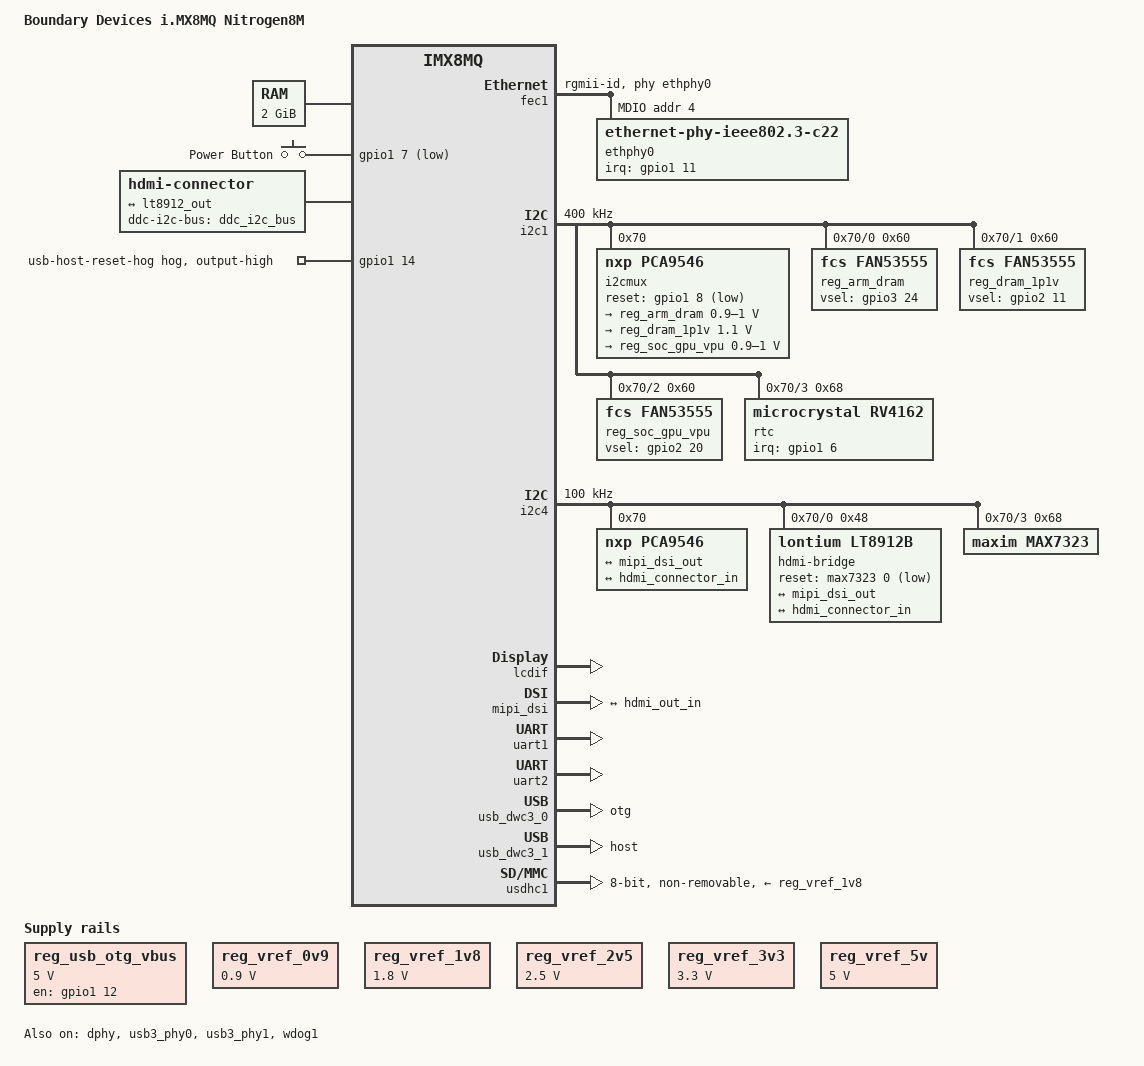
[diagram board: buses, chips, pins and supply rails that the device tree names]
// SPDX-License-Identifier: (GPL-2.0+ OR MIT)
/*
 * Copyright 2018 Boundary Devices
 */

/dts-v1/;

#include <dt-bindings/input/input.h>
#include "imx8mq.dtsi"

/ {
	model = "Boundary Devices i.MX8MQ Nitrogen8M";
	compatible = "boundary,imx8mq-nitrogen8m", "fsl,imx8mq";

	chosen {
		stdout-path = "serial0:115200n8";
	};

	memory@40000000 {
		device_type = "memory";
		reg = <0x00000000 0x40000000 0 0x80000000>;
	};

	gpio-keys {
		compatible = "gpio-keys";
		pinctrl-names = "default";
		pinctrl-0 = <&pinctrl_gpio_keys>;

		button-power {
			label = "Power Button";
			gpios = <&gpio1 7 GPIO_ACTIVE_LOW>;
			linux,code = <KEY_POWER>;
			wakeup-source;
		};
	};

	hdmi-connector {
		compatible = "hdmi-connector";
		ddc-i2c-bus = <&ddc_i2c_bus>;
		label = "hdmi";
		type = "a";

		port {
			hdmi_connector_in: endpoint {
				remote-endpoint = <&lt8912_out>;
			};
		};
	};

	reg_usb_otg_vbus: regulator-usb-otg-vbus {
		compatible = "regulator-fixed";
		pinctrl-names = "default";
		pinctrl-0 = <&pinctrl_reg_usbotg_vbus>;
		regulator-name = "usb_otg_vbus";
		regulator-min-microvolt = <5000000>;
		regulator-max-microvolt = <5000000>;
		gpio = <&gpio1 12 GPIO_ACTIVE_HIGH>;
		enable-active-high;
	};

	reg_vref_0v9: regulator-vref-0v9 {
		compatible = "regulator-fixed";
		regulator-name = "vref-0v9";
		regulator-min-microvolt = <900000>;
		regulator-max-microvolt = <900000>;
	};

	reg_vref_1v8: regulator-vref-1v8 {
		compatible = "regulator-fixed";
		regulator-name = "vref-1v8";
		regulator-min-microvolt = <1800000>;
		regulator-max-microvolt = <1800000>;
	};

	reg_vref_2v5: regulator-vref-2v5 {
		compatible = "regulator-fixed";
		regulator-name = "vref-2v5";
		regulator-min-microvolt = <2500000>;
		regulator-max-microvolt = <2500000>;
	};

	reg_vref_3v3: regulator-vref-3v3 {
		compatible = "regulator-fixed";
		regulator-name = "vref-3v3";
		regulator-min-microvolt = <3300000>;
		regulator-max-microvolt = <3300000>;
	};

	reg_vref_5v: regulator-vref-5v {
		compatible = "regulator-fixed";
		regulator-name = "vref-5v";
		regulator-min-microvolt = <5000000>;
		regulator-max-microvolt = <5000000>;
	};
};

&dphy {
	status = "okay";
};

&fec1 {
	pinctrl-names = "default";
	pinctrl-0 = <&pinctrl_fec1>;
	phy-mode = "rgmii-id";
	phy-handle = <&ethphy0>;
	fsl,magic-packet;
	status = "okay";

	mdio {
		#address-cells = <1>;
		#size-cells = <0>;

		ethphy0: ethernet-phy@4 {
			compatible = "ethernet-phy-ieee802.3-c22";
			reg = <4>;
			interrupts-extended = <&gpio1 11 IRQ_TYPE_LEVEL_LOW>;
		};
	};
};

/* Release reset of the USB Host HUB */
&gpio1 {
	usb-host-reset-hog {
		gpio-hog;
		gpios = <14 GPIO_ACTIVE_HIGH>;
		output-high;
	};
};

&i2c1 {
	clock-frequency = <400000>;
	pinctrl-names = "default";
	pinctrl-0 = <&pinctrl_i2c1>;
	status = "okay";

	i2cmux@70 {
		compatible = "nxp,pca9546";
		pinctrl-names = "default";
		pinctrl-0 = <&pinctrl_i2c1_pca9546>;
		reg = <0x70>;
		reset-gpios = <&gpio1 8 GPIO_ACTIVE_LOW>;
		#address-cells = <1>;
		#size-cells = <0>;

		i2c1a: i2c1@0 {
			reg = <0>;
			#address-cells = <1>;
			#size-cells = <0>;

			reg_arm_dram: regulator@60 {
				compatible = "fcs,fan53555";
				pinctrl-names = "default";
				pinctrl-0 = <&pinctrl_reg_arm_dram>;
				reg = <0x60>;
				regulator-min-microvolt = <900000>;
				regulator-max-microvolt = <1000000>;
				regulator-always-on;
				vsel-gpios = <&gpio3 24 GPIO_ACTIVE_HIGH>;
			};
		};

		i2c1b: i2c1@1 {
			reg = <1>;
			#address-cells = <1>;
			#size-cells = <0>;

			reg_dram_1p1v: regulator@60 {
				compatible = "fcs,fan53555";
				pinctrl-names = "default";
				pinctrl-0 = <&pinctrl_reg_dram_1p1v>;
				reg = <0x60>;
				regulator-min-microvolt = <1100000>;
				regulator-max-microvolt = <1100000>;
				regulator-always-on;
				vsel-gpios = <&gpio2 11 GPIO_ACTIVE_HIGH>;
			};
		};

		i2c1c: i2c1@2 {
			reg = <2>;
			#address-cells = <1>;
			#size-cells = <0>;

			reg_soc_gpu_vpu: regulator@60 {
				compatible = "fcs,fan53555";
				pinctrl-names = "default";
				pinctrl-0 = <&pinctrl_reg_soc_gpu_vpu>;
				reg = <0x60>;
				regulator-min-microvolt = <900000>;
				regulator-max-microvolt = <1000000>;
				regulator-always-on;
				vsel-gpios = <&gpio2 20 GPIO_ACTIVE_HIGH>;
			};
		};

		i2c1d: i2c1@3 {
			reg = <3>;
			#address-cells = <1>;
			#size-cells = <0>;

			rtc@68 {
				compatible = "microcrystal,rv4162";
				pinctrl-names = "default";
				pinctrl-0 = <&pinctrl_i2c1d_rv4162>;
				reg = <0x68>;
				interrupts-extended = <&gpio1 6 IRQ_TYPE_LEVEL_LOW>;
				wakeup-source;
			};
		};
	};
};

&i2c4 {
	clock-frequency = <100000>;
	pinctrl-names = "default";
	pinctrl-0 = <&pinctrl_i2c4>;
	status = "okay";

	pca9546: i2cmux@70 {
		compatible = "nxp,pca9546";
		reg = <0x70>;
		#address-cells = <1>;
		#size-cells = <0>;

		i2c4@0 {
			reg = <0>;
			#address-cells = <1>;
			#size-cells = <0>;
			clock-frequency = <100000>;

			hdmi-bridge@48 {
				compatible = "lontium,lt8912b";
				reg = <0x48> ;
				reset-gpios = <&max7323 0 GPIO_ACTIVE_LOW>;

				ports {
					#address-cells = <1>;
					#size-cells = <0>;

					port@0 {
						reg = <0>;

						hdmi_out_in: endpoint {
							data-lanes = <1 2 3 4>;
							remote-endpoint = <&mipi_dsi_out>;
						};
					};

					port@1 {
						reg = <1>;

						lt8912_out: endpoint {
							remote-endpoint = <&hdmi_connector_in>;
						};
					};
				};
			};
		};

		ddc_i2c_bus: i2c4@1 {
			reg = <1>;
			#address-cells = <1>;
			#size-cells = <0>;
			clock-frequency = <100000>;
		};

		i2c4@3 {
			reg = <3>;
			#address-cells = <1>;
			#size-cells = <0>;
			clock-frequency = <100000>;

			max7323: gpio-expander@68 {
				compatible = "maxim,max7323";
				pinctrl-names = "default";
				pinctrl-0 = <&pinctrl_max7323>;
				gpio-controller;
				reg = <0x68>;
				#gpio-cells = <2>;
			};
		};
	};
};

&lcdif {
	status = "okay";
};

&mipi_dsi {
	#address-cells = <1>;
	#size-cells = <0>;
	status = "okay";

	ports {
		port@1 {
			reg = <1>;

			mipi_dsi_out: endpoint {
				remote-endpoint = <&hdmi_out_in>;
			};
		};
	};
};

&uart1 { /* console */
	pinctrl-names = "default";
	pinctrl-0 = <&pinctrl_uart1>;
	assigned-clocks = <&clk IMX8MQ_CLK_UART1>;
	assigned-clock-parents = <&clk IMX8MQ_CLK_25M>;
	status = "okay";
};

&uart2 {
	pinctrl-names = "default";
	pinctrl-0 = <&pinctrl_uart2>;
	assigned-clocks = <&clk IMX8MQ_CLK_UART2>;
	assigned-clock-parents = <&clk IMX8MQ_CLK_25M>;
	status = "okay";
};

&usb_dwc3_0 {
	dr_mode = "otg";
	pinctrl-names = "default";
	pinctrl-0 = <&pinctrl_usb3_0>;
	status = "okay";
};

&usb3_phy0 {
	vbus-supply = <&reg_usb_otg_vbus>;
	status = "okay";
};

&usb_dwc3_1 {
	dr_mode = "host";
	status = "okay";
};

&usb3_phy1 {
	pinctrl-names = "default";
	pinctrl-0 = <&pinctrl_usb3_1>;
	status = "okay";
};

&usdhc1 {
	assigned-clocks = <&clk IMX8MQ_CLK_USDHC1>;
	assigned-clock-rates = <400000000>;
	bus-width = <8>;
	pinctrl-names = "default";
	pinctrl-0 = <&pinctrl_usdhc1>;
	non-removable;
	vmmc-supply = <&reg_vref_1v8>;
	status = "okay";
};

&wdog1 {
	pinctrl-names = "default";
	pinctrl-0 = <&pinctrl_wdog>;
	fsl,ext-reset-output;
	status = "okay";
};

&iomuxc {
	pinctrl-names = "default";
	pinctrl-0 = <&pinctrl_hog>;

	pinctrl_hog: hoggrp {
		fsl,pins = <
			/* J17 connector, odd */
			MX8MQ_IOMUXC_SAI1_RXFS_GPIO4_IO0		0x19	/* Pin 19 */
			MX8MQ_IOMUXC_SAI1_RXC_GPIO4_IO1			0x19	/* Pin 21 */
			MX8MQ_IOMUXC_SAI1_RXD1_GPIO4_IO3		0x19	/* Pin 23 */
			MX8MQ_IOMUXC_SAI1_RXD2_GPIO4_IO4		0x19	/* Pin 25 */
			MX8MQ_IOMUXC_SAI1_RXD3_GPIO4_IO5		0x19	/* Pin 27 */
			MX8MQ_IOMUXC_SAI1_RXD4_GPIO4_IO6		0x19	/* Pin 29 */
			MX8MQ_IOMUXC_SAI1_RXD5_GPIO4_IO7		0x19	/* Pin 31 */
			MX8MQ_IOMUXC_SAI1_RXD6_GPIO4_IO8		0x19	/* Pin 33 */
			MX8MQ_IOMUXC_SAI1_RXD7_GPIO4_IO9		0x19	/* Pin 35 */
			MX8MQ_IOMUXC_SAI1_TXD1_GPIO4_IO13		0x19	/* Pin 39 */
			MX8MQ_IOMUXC_SAI1_TXD2_GPIO4_IO14		0x19	/* Pin 41 */
			MX8MQ_IOMUXC_SAI1_TXD3_GPIO4_IO15		0x19	/* Pin 43 */
			MX8MQ_IOMUXC_SAI1_TXD4_GPIO4_IO16		0x19	/* Pin 45 */
			MX8MQ_IOMUXC_SAI1_TXD5_GPIO4_IO17		0x19	/* Pin 47 */
			MX8MQ_IOMUXC_SAI1_TXD6_GPIO4_IO18		0x19	/* Pin 49 */
			MX8MQ_IOMUXC_SAI1_TXD7_GPIO4_IO19		0x19	/* Pin 51 */

			/* J17 connector, even */
			MX8MQ_IOMUXC_SAI3_RXFS_GPIO4_IO28		0x19	/* Pin 44 */
			MX8MQ_IOMUXC_SAI3_RXC_GPIO4_IO29		0x19	/* Pin 48 */
			MX8MQ_IOMUXC_GPIO1_IO10_GPIO1_IO10		0x19	/* Pin 50 */
			MX8MQ_IOMUXC_GPIO1_IO03_GPIO1_IO3		0x19	/* Pin 54 */
			MX8MQ_IOMUXC_GPIO1_IO05_GPIO1_IO5		0x19	/* Pin 56 */

			/* J18 connector, odd */
			MX8MQ_IOMUXC_NAND_CE3_B_GPIO3_IO4		0x19	/* Pin 41 */
			MX8MQ_IOMUXC_NAND_CLE_GPIO3_IO5			0x19	/* Pin 43 */
			MX8MQ_IOMUXC_NAND_READY_B_GPIO3_IO16		0x19	/* Pin 45 */
			MX8MQ_IOMUXC_NAND_DATA05_GPIO3_IO11		0x19	/* Pin 47 */
			MX8MQ_IOMUXC_NAND_WP_B_GPIO3_IO18		0x19	/* Pin 49 */
			MX8MQ_IOMUXC_NAND_DQS_GPIO3_IO14		0x19	/* Pin 53 */

			/* J18 connector, even */
			MX8MQ_IOMUXC_NAND_ALE_GPIO3_IO0			0x19	/* Pin 32 */
			MX8MQ_IOMUXC_NAND_CE0_B_GPIO3_IO1		0x19	/* Pin 36 */
			MX8MQ_IOMUXC_NAND_DATA00_GPIO3_IO6		0x19	/* Pin 38 */
			MX8MQ_IOMUXC_NAND_DATA01_GPIO3_IO7		0x19	/* Pin 40 */
			MX8MQ_IOMUXC_NAND_DATA02_GPIO3_IO8		0x19	/* Pin 42 */
			MX8MQ_IOMUXC_NAND_DATA03_GPIO3_IO9		0x19	/* Pin 44 */
			MX8MQ_IOMUXC_NAND_DATA04_GPIO3_IO10		0x19	/* Pin 46 */

			/* J13 Pin 2, WL_WAKE */
			MX8MQ_IOMUXC_SAI5_RXD2_GPIO3_IO23		0xd6
			/* J13 Pin 4, WL_IRQ, not needed for Silex */
			MX8MQ_IOMUXC_SAI5_RXD0_GPIO3_IO21		0xd6
			/* J13 pin 9, unused */
			MX8MQ_IOMUXC_SD2_CD_B_GPIO2_IO12		0x19
			/* J13 Pin 41, BT_CLK_REQ */
			MX8MQ_IOMUXC_SAI5_RXD1_GPIO3_IO22		0xd6
			/* J13 Pin 42, BT_HOST_WAKE */
			MX8MQ_IOMUXC_SAI5_MCLK_GPIO3_IO25		0xd6

			/* Clock for both CSI1 and CSI2 */
			MX8MQ_IOMUXC_GPIO1_IO15_CCMSRCGPCMIX_CLKO2	0x07
			/* test points */
			MX8MQ_IOMUXC_GPIO1_IO04_GPIO1_IO4		0xc1	/* TP87 */
		>;
	};

	pinctrl_fec1: fec1grp {
		fsl,pins = <
			MX8MQ_IOMUXC_ENET_MDC_ENET1_MDC			0x3
			MX8MQ_IOMUXC_ENET_MDIO_ENET1_MDIO		0x23
			MX8MQ_IOMUXC_ENET_TX_CTL_ENET1_RGMII_TX_CTL	0x1f
			MX8MQ_IOMUXC_ENET_TXC_ENET1_RGMII_TXC		0x1f
			MX8MQ_IOMUXC_ENET_TD0_ENET1_RGMII_TD0		0x1f
			MX8MQ_IOMUXC_ENET_TD1_ENET1_RGMII_TD1		0x1f
			MX8MQ_IOMUXC_ENET_TD2_ENET1_RGMII_TD2		0x1f
			MX8MQ_IOMUXC_ENET_TD3_ENET1_RGMII_TD3		0x1f
			MX8MQ_IOMUXC_ENET_RX_CTL_ENET1_RGMII_RX_CTL	0x91
			MX8MQ_IOMUXC_ENET_RXC_ENET1_RGMII_RXC		0x91
			MX8MQ_IOMUXC_ENET_RD0_ENET1_RGMII_RD0		0x91
			MX8MQ_IOMUXC_ENET_RD1_ENET1_RGMII_RD1		0x91
			MX8MQ_IOMUXC_ENET_RD2_ENET1_RGMII_RD2		0x91
			MX8MQ_IOMUXC_ENET_RD3_ENET1_RGMII_RD3		0x91
			MX8MQ_IOMUXC_GPIO1_IO09_GPIO1_IO9		0x19
			MX8MQ_IOMUXC_GPIO1_IO11_GPIO1_IO11		0x59
		>;
	};

	pinctrl_gpio_keys: gpio-keysgrp {
		fsl,pins = <
			MX8MQ_IOMUXC_GPIO1_IO07_GPIO1_IO7		0x19
		>;
	};


	pinctrl_i2c1: i2c1grp {
		fsl,pins = <
			MX8MQ_IOMUXC_I2C1_SCL_I2C1_SCL			0x4000007f
			MX8MQ_IOMUXC_I2C1_SDA_I2C1_SDA			0x4000007f
		>;
	};

	pinctrl_i2c1_pca9546: i2c1-pca9546grp {
		fsl,pins = <
			MX8MQ_IOMUXC_GPIO1_IO08_GPIO1_IO8		0x49
		>;
	};

	pinctrl_i2c1d_rv4162: i2c1d-rv4162grp {
		fsl,pins = <
			MX8MQ_IOMUXC_GPIO1_IO06_GPIO1_IO6		0x49
		>;
	};

	pinctrl_i2c4: i2c4grp {
		fsl,pins = <
			MX8MQ_IOMUXC_I2C4_SCL_I2C4_SCL			0x4000007f
			MX8MQ_IOMUXC_I2C4_SDA_I2C4_SDA			0x4000007f
		>;
	};

	pinctrl_max7323: max7323grp {
		fsl,pins = <
			MX8MQ_IOMUXC_NAND_RE_B_GPIO3_IO15 0x19
		>;
	};

	pinctrl_reg_arm_dram: reg-arm-dramgrp {
		fsl,pins = <
			MX8MQ_IOMUXC_SAI5_RXD3_GPIO3_IO24	0x16
		>;
	};

	pinctrl_reg_dram_1p1v: reg-dram-1p1vgrp {
		fsl,pins = <
			MX8MQ_IOMUXC_SD1_STROBE_GPIO2_IO11	0x16
		>;
	};

	pinctrl_reg_soc_gpu_vpu: reg-soc-gpu-vpugrp {
		fsl,pins = <
			MX8MQ_IOMUXC_SD2_WP_GPIO2_IO20		0x16
		>;
	};

	pinctrl_reg_usbotg_vbus: reg-usbotg-vbusgrp {
		fsl,pins = <
			MX8MQ_IOMUXC_GPIO1_IO12_GPIO1_IO12	0x16
		>;
	};

	pinctrl_uart1: uart1grp {
		fsl,pins = <
			MX8MQ_IOMUXC_UART1_RXD_UART1_DCE_RX		0x45
			MX8MQ_IOMUXC_UART1_TXD_UART1_DCE_TX		0x45
		>;
	};

	pinctrl_uart2: uart2grp {
		fsl,pins = <
			MX8MQ_IOMUXC_UART2_RXD_UART2_DCE_RX		0x45
			MX8MQ_IOMUXC_UART2_TXD_UART2_DCE_TX		0x45
		>;
	};

	pinctrl_usb3_0: usb3-0grp {
		fsl,pins = <
			MX8MQ_IOMUXC_GPIO1_IO13_USB1_OTG_OC		0x16
		>;
	};

	pinctrl_usb3_1: usb3-1grp {
		fsl,pins = <
			MX8MQ_IOMUXC_GPIO1_IO14_GPIO1_IO14		0x16
		>;
	};

	pinctrl_usdhc1: usdhc1grp {
		fsl,pins = <
			MX8MQ_IOMUXC_SD1_CLK_USDHC1_CLK			0x83
			MX8MQ_IOMUXC_SD1_CMD_USDHC1_CMD			0xc3
			MX8MQ_IOMUXC_SD1_DATA0_USDHC1_DATA0		0xc3
			MX8MQ_IOMUXC_SD1_DATA1_USDHC1_DATA1		0xc3
			MX8MQ_IOMUXC_SD1_DATA2_USDHC1_DATA2		0xc3
			MX8MQ_IOMUXC_SD1_DATA3_USDHC1_DATA3		0xc3
			MX8MQ_IOMUXC_SD1_DATA4_USDHC1_DATA4		0xc3
			MX8MQ_IOMUXC_SD1_DATA5_USDHC1_DATA5		0xc3
			MX8MQ_IOMUXC_SD1_DATA6_USDHC1_DATA6		0xc3
			MX8MQ_IOMUXC_SD1_DATA7_USDHC1_DATA7		0xc3
			MX8MQ_IOMUXC_SD1_RESET_B_GPIO2_IO10		0x41
		>;
	};

	pinctrl_usdhc1_100mhz: usdhc1-100mhzgrp {
		fsl,pins = <
			MX8MQ_IOMUXC_SD1_CLK_USDHC1_CLK			0x8d
			MX8MQ_IOMUXC_SD1_CMD_USDHC1_CMD			0xcd
			MX8MQ_IOMUXC_SD1_DATA0_USDHC1_DATA0		0xcd
			MX8MQ_IOMUXC_SD1_DATA1_USDHC1_DATA1		0xcd
			MX8MQ_IOMUXC_SD1_DATA2_USDHC1_DATA2		0xcd
			MX8MQ_IOMUXC_SD1_DATA3_USDHC1_DATA3		0xcd
			MX8MQ_IOMUXC_SD1_DATA4_USDHC1_DATA4		0xcd
			MX8MQ_IOMUXC_SD1_DATA5_USDHC1_DATA5		0xcd
			MX8MQ_IOMUXC_SD1_DATA6_USDHC1_DATA6		0xcd
			MX8MQ_IOMUXC_SD1_DATA7_USDHC1_DATA7		0xcd
		>;
	};

	pinctrl_usdhc1_200mhz: usdhc1-200mhzgrp {
		fsl,pins = <
			MX8MQ_IOMUXC_SD1_CLK_USDHC1_CLK			0x9f
			MX8MQ_IOMUXC_SD1_CMD_USDHC1_CMD			0xdf
			MX8MQ_IOMUXC_SD1_DATA0_USDHC1_DATA0		0xdf
			MX8MQ_IOMUXC_SD1_DATA1_USDHC1_DATA1		0xdf
			MX8MQ_IOMUXC_SD1_DATA2_USDHC1_DATA2		0xdf
			MX8MQ_IOMUXC_SD1_DATA3_USDHC1_DATA3		0xdf
			MX8MQ_IOMUXC_SD1_DATA4_USDHC1_DATA4		0xdf
			MX8MQ_IOMUXC_SD1_DATA5_USDHC1_DATA5		0xdf
			MX8MQ_IOMUXC_SD1_DATA6_USDHC1_DATA6		0xdf
			MX8MQ_IOMUXC_SD1_DATA7_USDHC1_DATA7		0xdf
		>;
	};

	pinctrl_wdog: wdoggrp {
		fsl,pins = <
		MX8MQ_IOMUXC_GPIO1_IO02_WDOG1_WDOG_B	0xc6
		>;
	};
};
